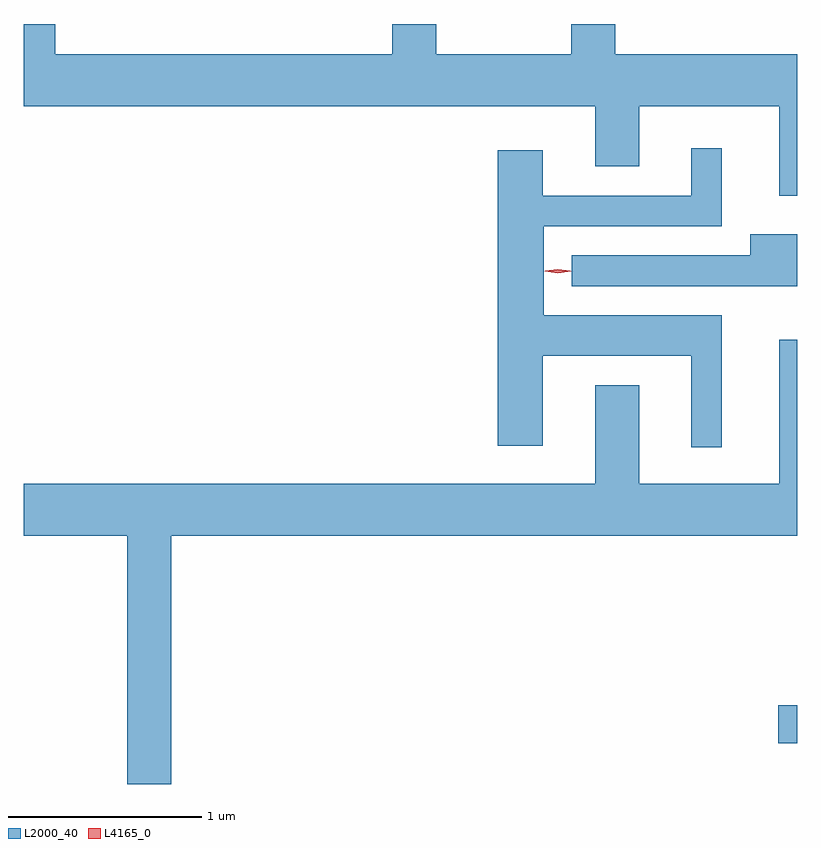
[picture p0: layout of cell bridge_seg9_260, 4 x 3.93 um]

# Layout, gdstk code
import gdstk
lib = gdstk.Library(unit=1e-6, precision=1e-09)
def R(c, l, rs):  # rectangles x0, y0, x1, y1
    for r in rs: c.add(gdstk.rectangle(r[:2], r[2:], *l))
def P(c, l, *ps):  # polygons
    for p in ps: c.add(gdstk.Polygon(p, *l))
L2000_40 = (2000, 40)
L4165_0 = (4165, 0)

bridge_seg9_260 = lib.new_cell('bridge_seg9_260')
R(bridge_seg9_260, L2000_40, [(888.666,2024.041,888.765,2024.239)])
P(bridge_seg9_260, L2000_40, [(888.765,2027.604),(887.824,2027.604),(887.824,2027.761),(887.596,2027.761),(887.596,2027.604),(886.899,2027.604),(886.899,2027.761),(886.671,2027.761),(886.671,2027.604),(884.929,2027.604),(884.929,2027.761),(884.765,2027.761),(884.765,2027.336),(887.721,2027.336),(887.721,2027.026),(887.949,2027.026),(887.949,2027.336),(888.671,2027.336),(888.671,2026.873),(888.765,2026.873)],
  [(888.374,2026.254),(887.454,2026.254),(887.454,2026.716),(888.374,2026.716),(888.374,2027.118),(888.216,2027.118),(888.216,2026.874),(887.449,2026.874),(887.449,2027.109),(887.216,2027.109),(887.216,2025.581),(887.449,2025.581),(887.449,2026.046),(888.216,2026.046),(888.216,2025.573),(888.374,2025.573)],
  [(888.765,2026.674),(888.521,2026.674),(888.521,2026.564),(887.598,2026.564),(887.598,2026.406),(888.765,2026.406)],
  [(885.529,2025.116),(888.765,2025.116),(888.765,2026.128),(888.671,2026.128),(888.671,2025.384),(887.949,2025.384),(887.949,2025.894),(887.721,2025.894),(887.721,2025.384),(884.765,2025.384),(884.765,2025.116),(885.301,2025.116),(885.301,2023.831),(885.529,2023.831)])
P(bridge_seg9_260, L4165_0, [(887.527,2026.473),(887.458,2026.482),(887.457,2026.483),(887.458,2026.483),(887.527,2026.493),(887.596,2026.483),(887.596,2026.483),(887.596,2026.482)],
  [(887.527,2026.473),(887.461,2026.483),(887.46,2026.483),(887.461,2026.484),(887.527,2026.493),(887.592,2026.484),(887.593,2026.483),(887.592,2026.483)])

lib.write_gds('bridge_seg9_260.gds')
